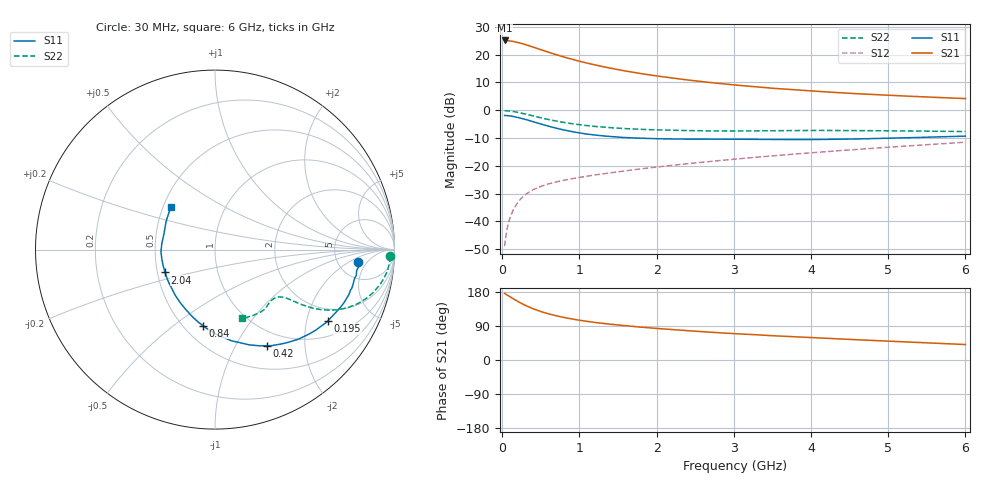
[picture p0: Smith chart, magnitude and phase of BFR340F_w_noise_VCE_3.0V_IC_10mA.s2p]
! Infineon Technologies  Discrete & RF Semiconductors
! BFR340F
! VCE =  3.0 V,  IC =  10 mA
! Common Emitter S-Parameters:  Nov 2015
# GHz  S  MA  R  50
!  f  S11  S21  S12  S22
! GHz  MAG  ANG  MAG  ANG  MAG  ANG  MAG  ANG
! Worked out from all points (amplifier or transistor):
!   206 points, 30 MHz to 6 GHz, reference 50 ohm
!   highest |S21| = 25.0 dB at 30 MHz (marker M1)
!   |S21| within 3 dB of that: start of sweep to 464.8 MHz
!   unconditionally stable (mu >= 1): 2 GHz to 5.055 GHz
!   at 200 MHz: K = 0.20, MSG = 28.8 dB, |S12| = -33.2 dB
!   at 1.56 GHz: K = 0.93, MSG = 18.1 dB, |S12| = -21.9 dB
!   at 6 GHz: K = 0.96, MSG = 7.8 dB, |S12| = -11.5 dB
!   lowest NFmin = 1.74 dB at 1.9 GHz
!   S11 on the Smith chart (normalised r, x): 30 MHz: 7.85, -3.15; 195 MHz: 1.52, -2.69; 420 MHz: 0.79, -1.35; 840 MHz: 0.62, -0.64; 2.04 GHz: 0.55, -0.15; 6 GHz: 0.55, +0.30
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0.03  0.8025 -5.1  17.88 176.1  0.0036 87.1  0.9771 -2.2
0.05  0.7976 -8.5  17.72 172.9  0.0058 85.8  0.9751 -3.9
0.09  0.7923 -15.6  17.6 168.2  0.0105 82.6  0.9664 -7.2
0.15  0.768 -25.1  17.05 160.5  0.0169 77.8  0.9416 -11.7
0.195  0.7442 -32.2  16.54 155.3  0.0214 74.7  0.9169 -14.8
0.26  0.7059 -41.6  15.66 148.1  0.0272 70.7  0.877 -18.6
0.3  0.6819 -47.1  15.07 144.0  0.0305 68.7  0.8509 -20.7
0.36  0.644 -54.6  14.17 138.6  0.0346 66.0  0.8116 -23.3
0.42  0.6089 -61.6  13.28 133.7  0.0384 63.9  0.7741 -25.4
0.5  0.5636 -70.3  12.19 127.8  0.0428 61.7  0.7275 -27.6
0.6  0.515 -80.0  10.96 121.6  0.0474 59.9  0.6771 -29.6
0.7  0.4743 -88.6  9.905 116.4  0.0515 58.9  0.635 -30.9
0.84  0.4288 -99.0  8.685 110.6  0.0566 58.3  0.5886 -32.0
1.04  0.3822 -112.3  7.338 103.8  0.0632 58.5  0.5393 -33.0
1.2  0.3575 -121.6  6.498 99.1  0.0685 59.1  0.5102 -33.5
1.46  0.3309 -134.3  5.477 93.1  0.0769 60.3  0.4782 -34.3
2.02  0.3066 -154.8  4.085 83.0  0.0958 63.1  0.4418 -36.7
2.04  0.3061 -155.4  4.05 82.7  0.0965 63.2  0.441 -36.8
3.1  0.3 180.0  2.769 68.6  0.1353 66.3  0.4228 -44.0
4.1  0.2972 163.5  2.166 58.2  0.1757 67.2  0.4322 -50.6
5.1  0.3158 148.8  1.825 48.8  0.2203 66.7  0.4246 -59.3
6  0.3415 135.9  1.614 40.8  0.2656 65.3  0.4123 -68.2
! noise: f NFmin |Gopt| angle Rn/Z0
1.9  1.74  0.28  1  0.5
